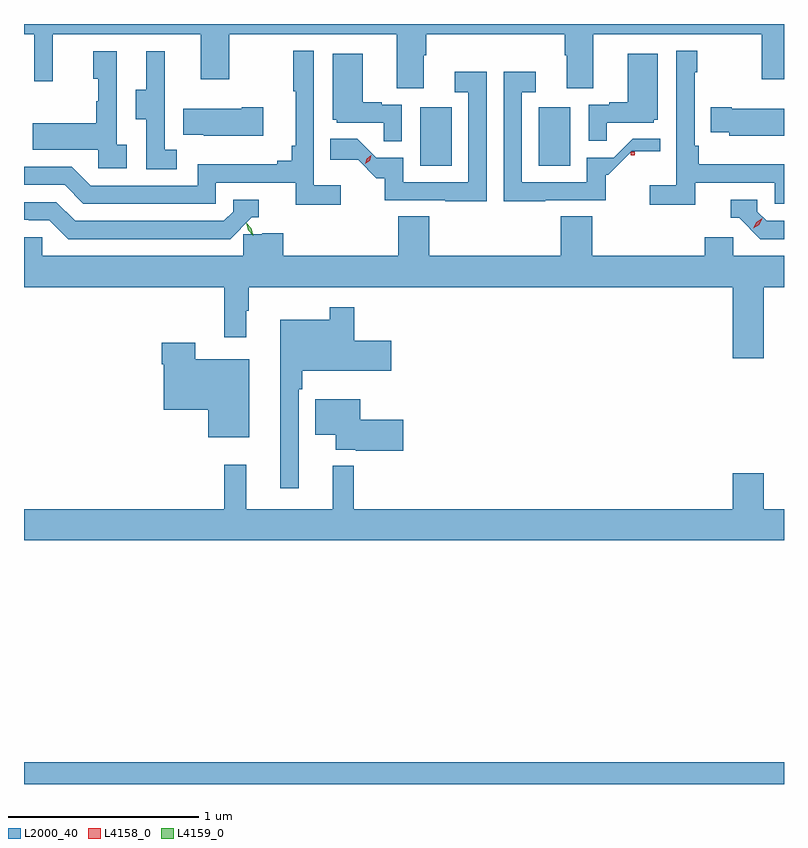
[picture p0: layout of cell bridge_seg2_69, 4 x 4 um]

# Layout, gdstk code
import gdstk
lib = gdstk.Library(unit=1e-6, precision=1e-09)
def R(c, l, rs):  # rectangles x0, y0, x1, y1
    for r in rs: c.add(gdstk.rectangle(r[:2], r[2:], *l))
def P(c, l, *ps):  # polygons
    for p in ps: c.add(gdstk.Polygon(p, *l))
L2000_40 = (2000, 40)
L4158_0 = (4158, 0)
L4159_0 = (4159, 0)

bridge_seg2_69 = lib.new_cell('bridge_seg2_69')
R(bridge_seg2_69, L2000_40, [(1036.402,653.013,1040.402,653.128), (1038.488,656.268,1038.652,656.575), (1039.112,656.268,1039.276,656.575)])
P(bridge_seg2_69, L2000_40, [(1038.505,656.848),(1038.518,656.848),(1038.518,656.96),(1039.247,656.96),(1039.247,656.848),(1039.259,656.848),(1039.259,656.674),(1039.399,656.674),(1039.399,656.96),(1040.284,656.96),(1040.284,656.721),(1040.402,656.721),(1040.402,657.013),(1036.402,657.013),(1036.402,656.96),(1036.455,656.96),(1036.455,656.712),(1036.553,656.712),(1036.553,656.96),(1037.333,656.96),(1037.333,656.721),(1037.481,656.721),(1037.481,656.96),(1038.365,656.96),(1038.365,656.674),(1038.505,656.674)],
  [(1039.934,656.178),(1040.352,656.178),(1040.352,656.067),(1040.402,656.067),(1040.402,656.275),(1039.952,656.275),(1039.952,656.371),(1039.932,656.371),(1039.932,656.759),(1039.945,656.759),(1039.945,656.872),(1039.836,656.872),(1039.836,656.165),(1039.695,656.165),(1039.695,656.062),(1039.934,656.062)],
  [(1038.07,656.164),(1037.928,656.164),(1037.928,656.872),(1037.82,656.872),(1037.82,656.659),(1037.831,656.659),(1037.831,656.371),(1037.812,656.371),(1037.812,656.294),(1037.735,656.294),(1037.735,656.275),(1037.316,656.275),(1037.316,656.163),(1036.752,656.163),(1036.653,656.262),(1036.402,656.262),(1036.402,656.166),(1036.616,656.166),(1036.715,656.067),(1037.412,656.067),(1037.412,656.178),(1037.831,656.178),(1037.831,656.062),(1038.07,656.062)],
  [(1037.206,656.351),(1037.142,656.351),(1037.142,656.655),(1037.144,656.655),(1037.144,656.869),(1037.045,656.869),(1037.045,656.667),(1036.991,656.667),(1036.991,656.512),(1037.046,656.512),(1037.046,656.248),(1037.206,656.248)],
  [(1036.942,656.378),(1036.89,656.378),(1036.89,656.869),(1036.766,656.869),(1036.766,656.724),(1036.792,656.724),(1036.792,656.606),(1036.782,656.606),(1036.782,656.491),(1036.447,656.491),(1036.447,656.351),(1036.794,656.351),(1036.794,656.253),(1036.942,656.253)],
  [(1039.47,656.493),(1039.716,656.493),(1039.716,656.508),(1039.738,656.508),(1039.738,656.857),(1039.58,656.857),(1039.58,656.602),(1039.481,656.602),(1039.481,656.589),(1039.374,656.589),(1039.374,656.398),(1039.47,656.398)],
  [(1038.39,656.589),(1038.284,656.589),(1038.284,656.602),(1038.184,656.602),(1038.184,656.857),(1038.026,656.857),(1038.026,656.508),(1038.048,656.508),(1038.048,656.493),(1038.295,656.493),(1038.295,656.395),(1038.39,656.395)],
  [(1038.837,656.761),(1038.669,656.761),(1038.669,656.655),(1038.741,656.655),(1038.741,656.181),(1038.399,656.181),(1038.399,656.31),(1038.255,656.31),(1038.157,656.408),(1038.013,656.408),(1038.013,656.298),(1038.161,656.298),(1038.257,656.202),(1038.301,656.202),(1038.301,656.085),(1038.619,656.085),(1038.619,656.08),(1038.837,656.08)],
  [(1039.145,656.085),(1039.464,656.085),(1039.464,656.22),(1039.476,656.22),(1039.6,656.344),(1039.751,656.344),(1039.751,656.408),(1039.607,656.408),(1039.507,656.309),(1039.365,656.309),(1039.365,656.181),(1039.023,656.181),(1039.023,656.655),(1039.096,656.655),(1039.096,656.761),(1038.927,656.761),(1038.927,656.08),(1039.145,656.08)],
  [(1037.662,656.574),(1037.549,656.574),(1037.549,656.566),(1037.239,656.566),(1037.239,656.429),(1037.347,656.429),(1037.347,656.426),(1037.662,656.426)],
  [(1040.402,656.566),(1040.128,656.566),(1040.128,656.574),(1040.017,656.574),(1040.017,656.444),(1040.115,656.444),(1040.115,656.426),(1040.402,656.426)],
  [(1037.601,655.995),(1037.638,655.995),(1037.638,656.088),(1037.502,656.088),(1037.502,656.025),(1037.454,655.977),(1036.671,655.977),(1036.572,656.076),(1036.402,656.076),(1036.402,655.983),(1036.428,655.983),(1036.428,655.98),(1036.535,655.98),(1036.634,655.881),(1037.487,655.881)],
  [(1040.402,655.977),(1040.31,655.977),(1040.262,656.025),(1040.262,656.088),(1040.123,656.088),(1040.123,655.992),(1040.166,655.992),(1040.277,655.881),(1040.402,655.881)],
  [(1040.296,655.628),(1040.402,655.628),(1040.402,655.792),(1040.136,655.792),(1040.136,655.89),(1039.985,655.89),(1039.985,655.792),(1039.394,655.792),(1039.394,656),(1039.228,656),(1039.228,655.792),(1038.536,655.792),(1038.536,656),(1038.371,656),(1038.371,655.792),(1037.767,655.792),(1037.767,655.911),(1037.656,655.911),(1037.656,655.906),(1037.555,655.906),(1037.555,655.792),(1036.497,655.792),(1036.497,655.89),(1036.402,655.89),(1036.402,655.628),(1037.455,655.628),(1037.455,655.365),(1037.572,655.365),(1037.572,655.505),(1037.584,655.505),(1037.584,655.628),(1040.132,655.628),(1040.132,655.254),(1040.296,655.254)],
  [(1037.847,655.091),(1037.867,655.091),(1037.867,655.187),(1038.334,655.187),(1038.334,655.345),(1038.14,655.345),(1038.14,655.522),(1038.012,655.522),(1038.012,655.456),(1037.75,655.456),(1037.75,654.57),(1037.847,654.57)],
  [(1037.587,655.249),(1037.304,655.249),(1037.304,655.336),(1037.126,655.336),(1037.126,655.223),(1037.138,655.223),(1037.138,654.983),(1037.372,654.983),(1037.372,654.839),(1037.587,654.839)],
  [(1038.397,654.931),(1038.172,654.931),(1038.172,655.039),(1037.936,655.039),(1037.936,654.851),(1038.044,654.851),(1038.044,654.773),(1038.148,654.773),(1038.148,654.768),(1038.397,654.768)],
  [(1040.402,654.46),(1040.296,654.46),(1040.296,654.649),(1040.132,654.649),(1040.132,654.46),(1038.138,654.46),(1038.138,654.688),(1038.026,654.688),(1038.026,654.46),(1037.573,654.46),(1037.573,654.694),(1037.455,654.694),(1037.455,654.46),(1036.402,654.46),(1036.402,654.296),(1040.402,654.296)])
R(bridge_seg2_69, L4158_0, [(1039.596,656.321,1039.616,656.341)])
P(bridge_seg2_69, L4158_0, [(1038.198,656.278),(1038.198,656.278),(1038.205,656.305),(1038.229,656.321),(1038.229,656.321),(1038.229,656.321),(1038.222,656.294),(1038.199,656.278)],
  [(1040.24,655.938),(1040.24,655.938),(1040.256,655.97),(1040.287,655.99),(1040.287,655.99),(1040.287,655.989),(1040.271,655.957),(1040.24,655.938)])
P(bridge_seg2_69, L4159_0, [(1037.608,655.898),(1037.608,655.898),(1037.581,655.928),(1037.571,655.967),(1037.571,655.967),(1037.572,655.967),(1037.599,655.937),(1037.609,655.898)])

lib.write_gds('bridge_seg2_69.gds')
